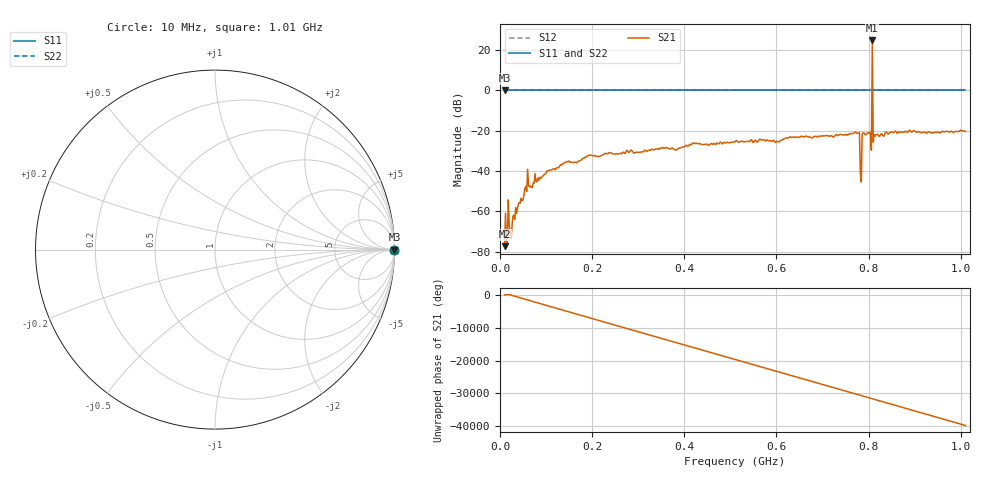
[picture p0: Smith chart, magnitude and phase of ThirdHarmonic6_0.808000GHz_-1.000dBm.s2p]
! 8/16/2025 2:55:14 AM
! C:\ANRITSUVNA\TEMP\TEMP.S2P
! CHANNEL.1
! TR.MEASUREMENT
! RAW.DATA
! RF.CORRECTION.OFF
! AVERAGING.OFF
! IF.BANDWIDTH: 5KHZ
! SWEEPTYPE:  FREQ.SWEEP(Linear)
! Reference Plane Port Info
! PORT:  PORT1  PORT2
! DISTANCE:  0  m  0  m
! TIME:  0  s  0  s
! PHASE.OFFSET:  0  deg.  0  deg.
! LOSS:  0  dB  0  dB
! REF.LOSS:  0  dB  0  dB
! REF.FREQ:  0  Hz  0  Hz
! Power Info
! POWER:  -20  dBm  -20  dBm
! EFF.POWER:  -20  dBm  -20  dBm
! SOURCE.ATTEN:  0  dB  0  dB
! TEST.ATTEN:  0  dB  0  dB
# GHZ S RI R 50.0
! FREQ.GHZ  S11RE  S11IM  S21RE  S21IM  S12RE  S12IM  S22RE  S22IM
!; PortSelection: Port_12
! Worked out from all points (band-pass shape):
!   501 points, 10 MHz to 1.01 GHz, reference 50 ohm
!   highest |S21| = 24.60 dB at 808 MHz (marker M1); lowest = -77.3 dB at 10 MHz (marker M2)
!   |S21| within 3 dB of the highest: 807.8896 MHz to 808.1192 MHz (229.5 kHz wide, 0.0284 % of centre)
!   lowest |S11| = 0.0 dB at 10 MHz (marker M3)
!   |S11| at or under -10 dB: nowhere
!   |S22| runs from 0.0 to 0.0 dB; largest |S21 - S12| = 16
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0.01  1 0  0.000136 1.44e-05  1 0  1 0
0.012  1 0  -0.000772 0.000463  1 0  1 0
0.016  1 0  -0.000169 8.91e-05  1 0  1 0
0.026  1 0  -0.00042 -5.04e-05  1 0  1 0
0.058  1 0  0.00283 0.00125  1 0  1 0
0.068  1 0  0.0031 -0.00233  1 0  1 0
0.142  1 0  -0.0151 -0.00541  1 0  1 0
0.178  1 0  -0.0195 -0.00296  1 0  1 0
0.344  1 0  0.0309 -0.0146  1 0  1 0
0.51  1 0  -0.037 0.0369  1 0  1 0
0.678  1 0  -0.0593 -0.0301  1 0  1 0
0.776  1 0  -0.0746 -0.0406  1 0  1 0
0.78  1 0  0.0638 0.0611  1 0  1 0
0.786  1 0  -0.0764 0.0234  1 0  1 0
0.79  1 0  0.0871 0.00213  1 0  1 0
0.802  1 0  -0.0437 -0.0726  1 0  1 0
0.804  1 0  -0.0837 0.0273  1 0  1 0
0.808  1 0  16.97 0.3621  1 0  1 0
0.812  1 0  -0.079 -0.00426  1 0  1 0
0.814  1 0  -0.0238 0.0684  1 0  1 0
0.844  1 0  0.0838 -0.0125  1 0  1 0
1.01  1 0  -0.055 0.0775  1 0  1 0
